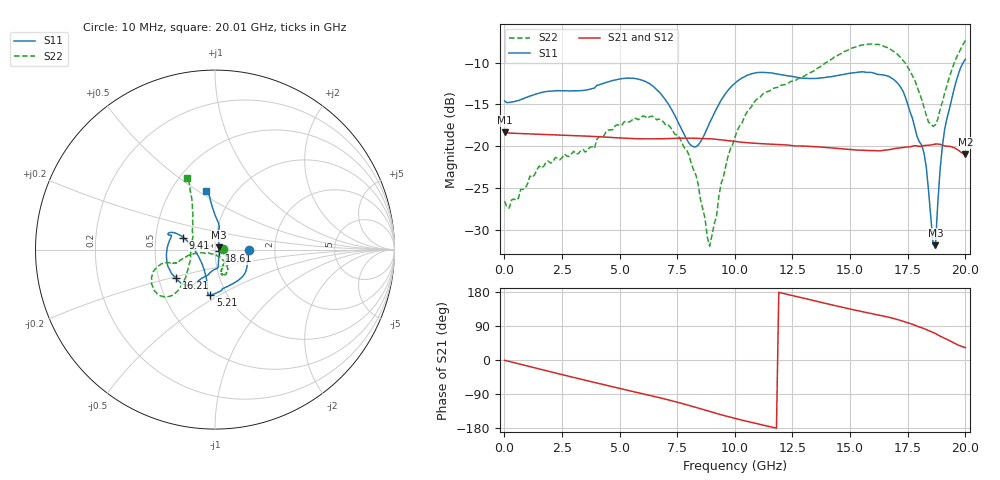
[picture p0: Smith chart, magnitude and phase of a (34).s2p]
! Hittite Microwave Corporation
! 2 Elizabeth Drive
! Chelmsford, MA 01824
! http://www.hittite.com
! Tel: 978-250-3343
! Fax: 978-250-3373
! Device:  HMC424LP3
! Description: 0.5 dB GaAs MMIC 6-Bit Digital Attenuator
! Frequency:  DC -  13.00 GHz
! Package:  LP3  - 3x3 mm Quad Flatpack No-Lead (QFN) Plastic Package: 16 pin
! Ports:  2 RF, 7 DC
!  Pad  1  = Ground
!  Pad  2  = RF IN  = Port 1
!  Pad  3  = Ground
!  Pad  4  = V6
!  Pad  5  = V5
!  Pad  6  = V4
!  Pad  7  = V3
!  Pad  8  = V2
!  Pad  9  = V1
!  Pad 10  = Ground
!  Pad 11  = RF OUT  = Port 2
!  Pad 12  = Ground
!  Pad 15  = VEE
! Control:  -5 Volt control voltage
! State:  32
! Attenuation:  16.0 dB
! Voltages:  Vdd = -5.00 Volts  Idd =  -2.146 mA
!  V1  = 0.00 Volts  I1  =  29.0 uA
!  V2  = 0.00 Volts  I2  =  29.0 uA
!  V3  = 0.00 Volts  I3  =  29.0 uA
!  V4  = 0.00 Volts  I4  =  30.0 uA
!  V5  = 0.00 Volts  I5  =  29.0 uA
!  V6  = -5.00 Volts  I6  =  -1.0 uA
! Data:  The device was measured on evaluation board 105354-1.
!  Data was collected using a calibrated network analyzer.
!  The evaluation circuit board was modeled and simulated.  This was use
!  to removed the evaluation board circuit from the measured data.
!  The reference plane is the edge of the package pin.
! Misc:  Lot xxxx, Unit 1
!  Application 20120001, Data collected in Application 20090083
! Date Measured:  2009-09-15
! Date:  2012-05-14  MJV
! Note:
!  Hittite supplies this data as a sample of measured data at the package pin
!  for this product.  Your particular data for this product may vary.
!  Data was taken at 25 degrees C.
!  Hittite reserves the right to change this data at anytime.
# GHz S MA R 50
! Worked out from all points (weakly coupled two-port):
!   201 points, 10 MHz to 20.01 GHz, reference 50 ohm
!   highest |S21| = -18.33 dB at 10 MHz (marker M1); lowest = -21.0 dB at 20.01 GHz (marker M2)
!   lowest |S11| = -31.8 dB at 18.71 GHz (marker M3), VSWR 1.05, Z = 52.3 + j1.23 ohm
!   |S11| at or under -10 dB: start of sweep to 19.92 GHz
!   |S22| runs from -31.9 to -7.4 dB; largest |S21 - S12| = 0.00099
!   S11 on the Smith chart (normalised r, x): 10 MHz: 1.46, +0.00; 5.21 GHz: 0.84, -0.45; 9.41 GHz: 0.69, +0.10; 16.21 GHz: 0.62, -0.21; 18.61 GHz: 1.05, -0.02; 20.01 GHz: 0.73, +0.54
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0.01  0.1867 0.2  0.1212 -1.0  0.1211 -1.4  0.04716 7.4
0.21  0.1829 -5.6  0.1202 -3.8  0.1198 -3.8  0.04287 -7.3
1.51  0.2076 -33.1  0.1181 -23.8  0.1179 -23.8  0.07644 -29.5
3.41  0.2156 -68.3  0.1155 -52.0  0.1153 -51.9  0.09609 -54.3
5.21  0.2543 -95.8  0.112 -78.0  0.1118 -77.9  0.1405 -75.7
6.71  0.2116 -101.5  0.1112 -99.0  0.1108 -99.0  0.1457 -63.9
8.01  0.1047 -135.5  0.1119 -119.8  0.1117 -119.8  0.08898 -50.5
8.41  0.1019 -164.9  0.1116 -126.8  0.1116 -126.7  0.05968 -52.3
8.91  0.1384 168.9  0.111 -135.7  0.1109 -135.7  0.02544 -108.4
9.41  0.1889 159.1  0.1097 -144.5  0.1094 -144.4  0.06023 -159.8
10.01  0.2382 157.3  0.1072 -154.2  0.107 -154.1  0.1137 -169.1
11.21  0.2763 161.5  0.1037 -171.5  0.1035 -171.5  0.205 -163.0
13.41  0.2542 163.7  0.09972 156.9  0.09943 157.0  0.2802 -164.9
16.21  0.2685 -143.8  0.09402 118.9  0.09401 119.0  0.4063 -142.4
16.71  0.2604 -130.9  0.09571 112.4  0.09555 112.5  0.3832 -136.4
17.31  0.2122 -119.7  0.09865 102.2  0.09848 102.3  0.3245 -132.3
18.21  0.09174 -78.6  0.1012 83.0  0.1009 83.0  0.1719 -148.6
18.61  0.02604 -17.7  0.1027 72.7  0.1025 72.8  0.1316 172.8
18.71  0.02576 27.2  0.1033 69.8  0.1031 69.9  0.1346 161.5
18.91  0.07212 75.6  0.103 63.0  0.1028 63.1  0.1659 139.7
19.11  0.1265 79.1  0.1007 57.3  0.1005 57.3  0.2078 126.9
20.01  0.3313 98.8  0.0896 32.6  0.08933 32.5  0.4282 111.0
